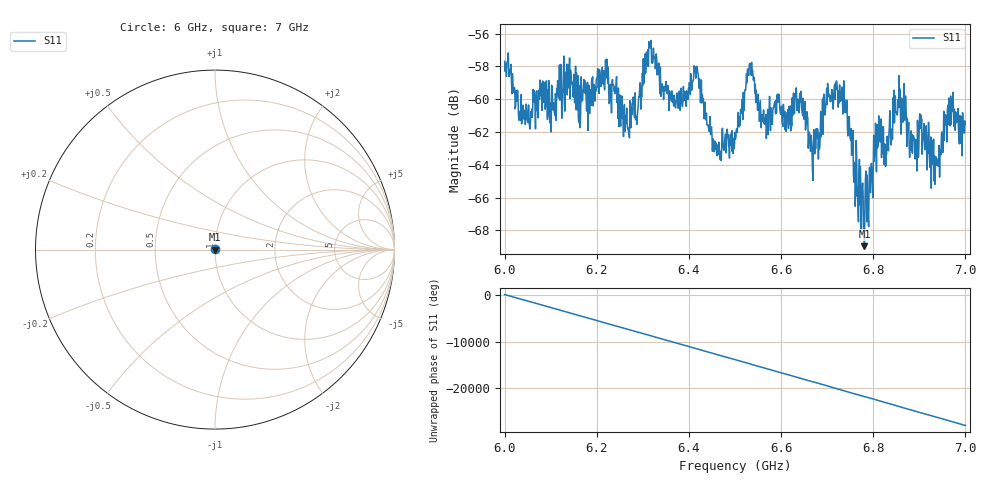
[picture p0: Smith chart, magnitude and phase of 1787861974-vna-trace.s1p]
! Created with skrf 1.10.0 (http://scikit-rf.org).
# Hz S RI R 50.0
!freq ReS11 ImS11
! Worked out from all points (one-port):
!   1001 points, 6 GHz to 7 GHz, reference 50 ohm
!   lowest |S11| = -69.0 dB at 6.781 GHz (marker M1), VSWR 1.00, Z = 50 - j0.00455 ohm
!   |S11| at or under -10 dB: start of sweep to end of sweep
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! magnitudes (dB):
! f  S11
! 6 GHz  -57.7
! 6.053 GHz  -61.3
! 6.125 GHz  -60.6
! 6.165 GHz  -61.0
! 6.22 GHz  -58.3
! 6.25 GHz  -59.7
! 6.286 GHz  -61.1
! 6.313 GHz  -56.5
! 6.375 GHz  -59.7
! 6.416 GHz  -58.3
! 6.456 GHz  -62.6
! 6.5 GHz  -62.0
! 6.532 GHz  -57.8
! 6.564 GHz  -61.5
! 6.625 GHz  -61.0
! 6.645 GHz  -60.7
! 6.668 GHz  -64.2
! 6.72 GHz  -58.9
! 6.75 GHz  -62.4
! 6.763 GHz  -62.5
! 6.781 GHz  -69.0
! 6.813 GHz  -62.3
! 6.828 GHz  -63.3
! 6.853 GHz  -60.7
! 6.875 GHz  -62.0
! 6.937 GHz  -64.0
! 6.969 GHz  -61.5
! 7 GHz  -61.5
